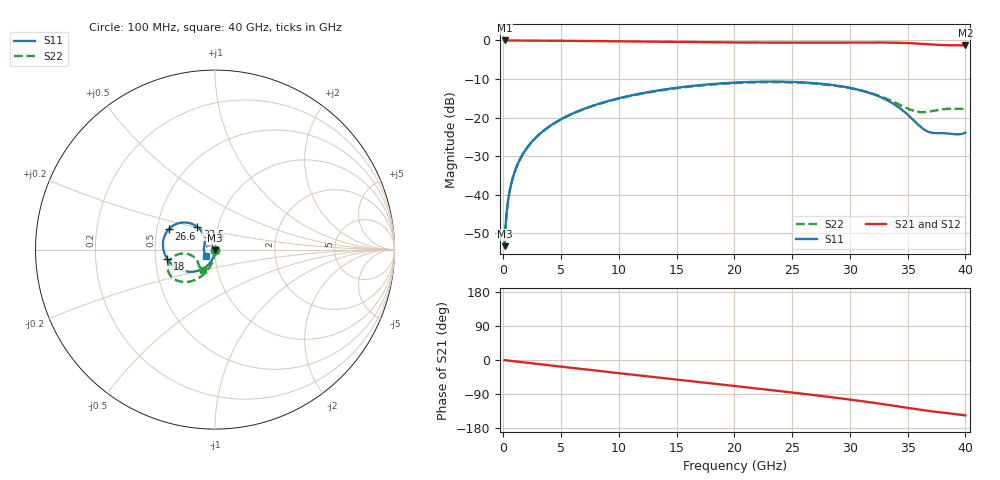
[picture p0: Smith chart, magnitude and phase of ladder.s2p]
# Hz S RI R 50
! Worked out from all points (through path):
!   400 points, 100 MHz to 40 GHz, reference 50 ohm
!   highest |S21| = 0.00 dB at 100 MHz (marker M1); lowest = -1.3 dB at 40 GHz (marker M2)
!   group delay of S21, straight-line fit = 10 ps
!   lowest |S11| = -53.4 dB at 100 MHz (marker M3), VSWR 1.00, Z = 50 - j0.214 ohm
!   |S11| at or under -10 dB: start of sweep to end of sweep
!   |S22| runs from -53.4 to -10.8 dB; largest |S21 - S12| = 0
!   S11 on the Smith chart (normalised r, x): 100 MHz: 1.00, -0.00; 18 GHz: 0.58, -0.06; 26.6 GHz: 0.58, +0.14; 33.5 GHz: 0.80, +0.21; 40 GHz: 0.90, -0.07
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1e8  -6.59e-05 -0.00214  0.9998 -0.00645  0.9998 -0.00645  -5.96e-05 -0.00214
2e8  -0.000193 -0.00422  0.9996 -0.0128  0.9996 -0.0128  -0.000168 -0.00422
3e8  -0.000356 -0.00626  0.9994 -0.0191  0.9994 -0.0191  -0.000301 -0.00627
5e8  -0.000783 -0.0103  0.9988 -0.0316  0.9988 -0.0316  -0.00063 -0.0103
9e8  -0.00201 -0.0182  0.9972 -0.0564  0.9972 -0.0564  -0.00152 -0.0182
1.6e9  -0.0053 -0.0315  0.9928 -0.0994  0.9928 -0.0994  -0.00377 -0.0317
2.5e9  -0.0116 -0.0478  0.9842 -0.1539  0.9842 -0.1539  -0.0079 -0.0485
3.6e9  -0.0221 -0.0662  0.9693 -0.2191  0.9693 -0.2191  -0.0147 -0.068
6.8e9  -0.0678 -0.1068  0.9012 -0.398  0.9012 -0.398  -0.0441 -0.1178
9.8e9  -0.1241 -0.1232  0.8075 -0.5469  0.8075 -0.5469  -0.0819 -0.1528
1.34e10  -0.195 -0.1115  0.6649 -0.6959  0.6649 -0.6959  -0.1346 -0.1766
1.8e10  -0.2662 -0.0519  0.448 -0.8348  0.448 -0.8348  -0.2017 -0.1755
2.01e10  -0.2842 -0.013  0.3398 -0.8787  0.3398 -0.8787  -0.2277 -0.1634
2.66e10  -0.258 0.113  -0.0243 -0.9361  -0.0243 -0.9361  -0.2628 -0.0896
2.67e10  -0.2566 0.1145  -0.0303 -0.936  -0.0303 -0.936  -0.2626 -0.0882
3.06e10  -0.1759 0.1512  -0.2722 -0.9004  -0.2722 -0.9004  -0.228 -0.0369
3.34e10  -0.1001 0.1277  -0.4541 -0.8211  -0.4541 -0.8211  -0.1679 -0.0218
3.35e10  -0.0976 0.1257  -0.4605 -0.8171  -0.4605 -0.8171  -0.1653 -0.022
3.55e10  -0.0601 0.0704  -0.5747 -0.7154  -0.5747 -0.7154  -0.1142 -0.0441
3.68e10  -0.0579 0.03  -0.6239 -0.6373  -0.6239 -0.6373  -0.0942 -0.0726
3.93e10  -0.0573 -0.019  -0.6945 -0.516  -0.6945 -0.516  -0.0757 -0.1053
4e10  -0.0518 -0.0369  -0.7187 -0.4812  -0.7187 -0.4812  -0.0645 -0.1122
